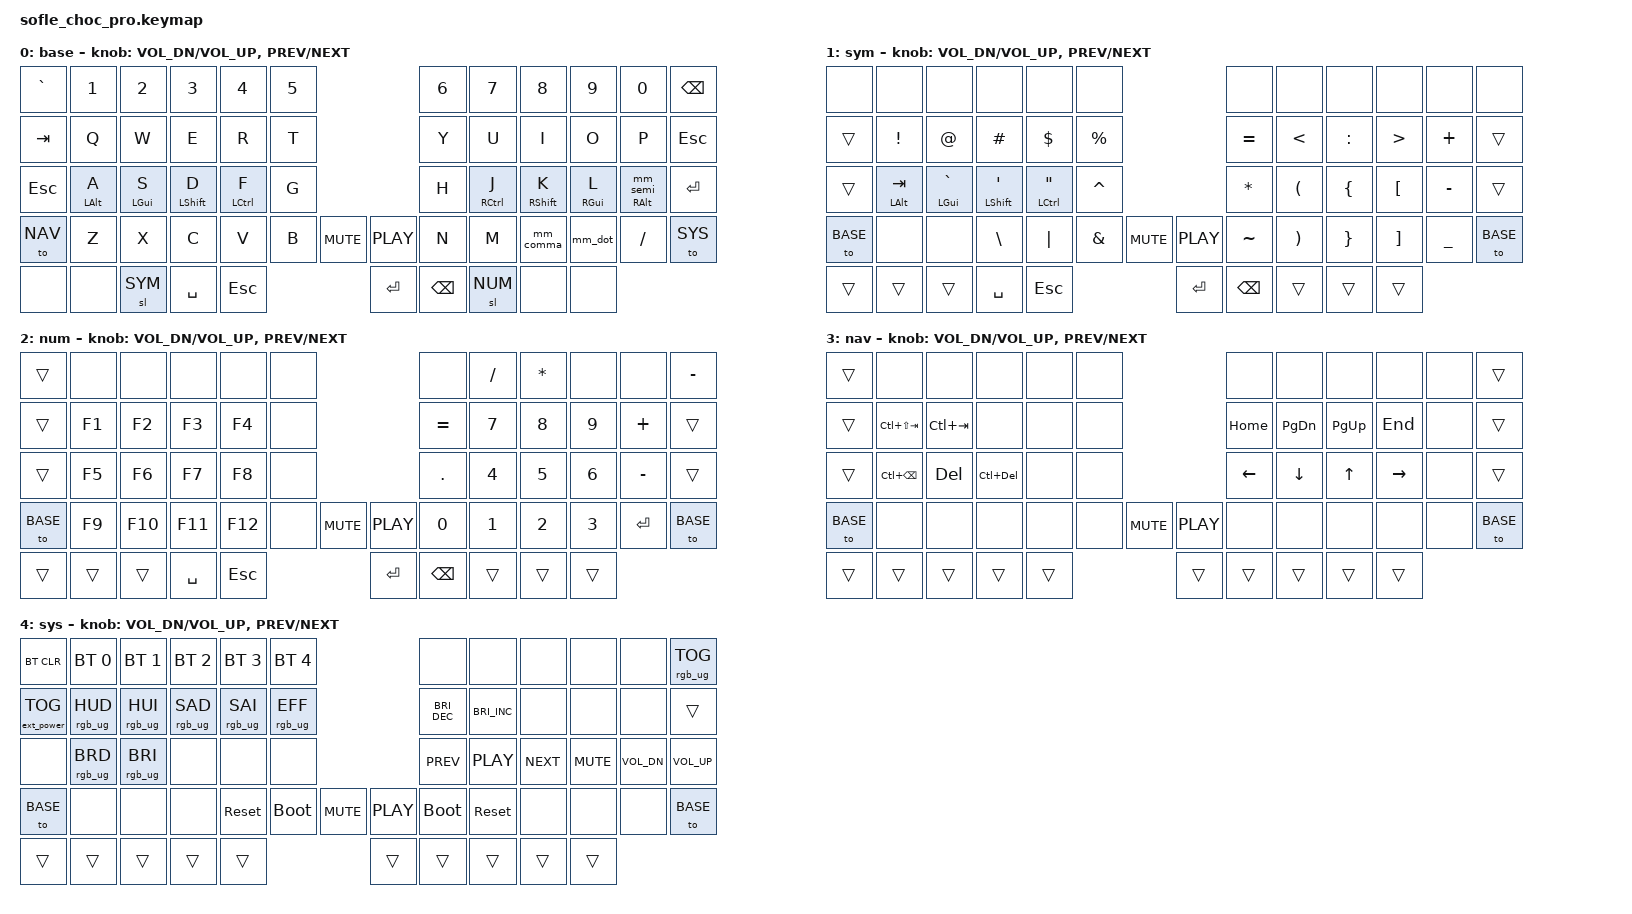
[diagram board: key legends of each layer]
/*
* Copyright (c) 2020 The ZMK Contributors
*
* SPDX-License-Identifier: MIT
*/

#include <behaviors.dtsi>
#include <dt-bindings/zmk/keys.h>
#include <dt-bindings/zmk/bt.h>
#include <dt-bindings/zmk/rgb.h>
#include <dt-bindings/zmk/ext_power.h>

#define BASE 0
#define SYM 1
#define NUM 2
#define NAV 3
#define SYS 4

/*
* Encoders (all layers):
*   left  encoder rotate = volume down / up
*   right encoder rotate = previous / next track
*   encoder push         = the two keys at the bottom-center: left = mute, right = play
*
* Layer notes:
*   SYM/NUM are one-shot (sticky) layers: tap the thumb key, the next keypress comes
*   from the layer, then the layer exits by itself.
*   NAV/SYS are persistent toggles: enter from a bottom pinky-column key on BASE,
*   exit from either bottom pinky-column key.
*   Unused inner keys are dead (&none); only the outer pinky columns and the thumb
*   keys stay transparent (&trans) across layers.
*   Shifted `,` `.` `;` produce nothing on BASE to force using the SYM layer.
*/

/ {
  behaviors {
    mm_comma: mm_comma {
      compatible = "zmk,behavior-mod-morph";
      label = "ZM_MM_COMMA";
      #binding-cells = <0>;
      mods = <(MOD_LSFT | MOD_RSFT)>;
      bindings = <&kp COMMA>, <&none>;
    };

    mm_dot: mm_dot {
      compatible = "zmk,behavior-mod-morph";
      label = "ZM_MM_DOT";
      #binding-cells = <0>;
      mods = <(MOD_LSFT | MOD_RSFT)>;
      bindings = <&kp DOT>, <&none>;
    };

    mm_semi: mm_semi {
      compatible = "zmk,behavior-mod-morph";
      label = "ZM_MM_SEMI";
      #binding-cells = <0>;
      mods = <(MOD_LSFT | MOD_RSFT)>;
      bindings = <&kp SEMI>, <&none>;
    };

    // Home-row mods: flavor "balanced" matches kanata tap-hold-release — the hold
    // only fires when another key is pressed AND released while this key is held,
    // or on timeout; quick-tap gives repeat on a fast re-press of the same key.
    hml: home_row_mod_left {
      compatible = "zmk,behavior-hold-tap";
      label = "HML";
      #binding-cells = <2>;
      flavor = "balanced";
      tapping-term-ms = <200>;
      quick-tap-ms = <200>;
      require-prior-idle-ms = <75>;
      bindings = <&kp>, <&kp>;
    };

    hmr: home_row_mod_right {
      compatible = "zmk,behavior-hold-tap";
      label = "HMR";
      #binding-cells = <2>;
      flavor = "balanced";
      tapping-term-ms = <200>;
      quick-tap-ms = <200>;
      require-prior-idle-ms = <75>;
      bindings = <&kp>, <&kp>;
    };

    // Right-alt hold, semi tap, with shifted-tap killed via mod-morph.
    // Same timing options as hml/hmr above.
    ht_ralt_semi: ht_ralt_semi {
      compatible = "zmk,behavior-hold-tap";
      label = "HT_RALT_SEMI";
      #binding-cells = <2>;
      flavor = "balanced";
      tapping-term-ms = <200>;
      quick-tap-ms = <200>;
      require-prior-idle-ms = <75>;
      bindings = <&kp>, <&mm_semi>;
    };
  };

  keymap {
    compatible = "zmk,keymap";

    base_layer {
      display-name = "base";
      // ------------------------------------------------------------------------------------------------------------
      // | `   |  1  |  2  |  3  |  4  |  5   |                 |  6   |  7  |  8  |  9  |  0  | BKSP |
      // | TAB |  Q  |  W  |  E  |  R  |  T   |                 |  Y   |  U  |  I  |  O  |  P  | ESC  |
      // | ESC | a=ALT s=GUI d=SFT f=CTL  G |                 |  H   | j=CTL k=SFT l=GUI ;=ALT | ENT |
      // | NAV |  Z  |  X  |  C  |  V  |  B   | MUTE | PLAY     |  N   |  M  |  ,  |  .  |  /  | SYS  |
      //              |     | SPC | ESC |                                     | ENT | BSPC |    |
      bindings = <
        &kp GRAVE  &kp N1      &kp N2      &kp N3      &kp N4       &kp N5                       &kp N6       &kp N7       &kp N8       &kp N9      &kp N0       &kp BSPC
        &kp TAB    &kp Q        &kp W       &kp E       &kp R        &kp T                        &kp Y        &kp U        &kp I        &kp O       &kp P        &kp ESC
        &kp ESC    &hml LALT A  &hml LGUI S  &hml LSHFT D &hml LCTRL F  &kp G                        &kp H        &hmr RCTRL J &hmr RSHFT K &hmr RGUI L  &ht_ralt_semi RALT 0  &kp RET
        &to NAV    &kp Z        &kp X       &kp C       &kp V        &kp B   &kp C_MUTE &kp C_PLAY   &kp N        &kp M        &mm_comma    &mm_dot     &kp FSLH     &to SYS
        &none      &none        &sl SYM     &kp SPC     &kp ESC                        &kp RET      &kp BSPC     &sl NUM      &none        &none
      >;

      // left encoder: volume down/up, right encoder: prev/next track
      sensor-bindings = <&inc_dec_kp C_VOL_DN C_VOL_UP &inc_dec_kp C_PREV C_NEXT>;
    };

    sym_layer {
      display-name = "sym";
      // ------------------------------------------------------------------------------------------------------------
      // |     |     |     |     |     |      |                 |      |     |     |     |     |      |
      // |     |  !  |  @  |  #  |  $  |  %   |                 |  =   |  <  |  :  |  >  |  +  |      |
      // |     |aTAB |aGRV | a'  | a"  |  ^   |                 |  *   |  (  |  {  |  [  |  -  |      |
      // |     |     |     |  \  |  |  |  &   | MUTE | PLAY     |  ~   |  )  |  }  |  ]  |  _  |      |
      //              |     | SPC | ESC |                                     | ENT | BSPC |    |
      bindings = <
        &none       &none          &none          &none           &none           &none                          &none         &none          &none        &none        &none         &none
        &trans      &kp EXCL       &kp AT         &kp HASH        &kp DLLR        &kp PRCNT                      &kp EQUAL     &kp LT         &kp COLON    &kp GT       &kp PLUS      &trans
        &trans      &hml LALT TAB   &hml LGUI GRAVE &hml LSHFT SQT   &hml LCTRL DQT   &kp CARET                      &kp ASTRK     &kp LPAR       &kp LBRC     &kp LBKT     &kp MINUS     &trans
        &to BASE    &none          &none          &kp BSLH        &kp PIPE        &kp AMPS   &kp C_MUTE &kp C_PLAY   &kp TILDE     &kp RPRN       &kp RBRC     &kp RBKT     &kp UNDERSCORE  &to BASE
        &trans      &trans         &trans         &kp SPC         &kp ESC                           &kp RET       &kp BSPC       &trans        &trans       &trans
      >;

      // left encoder: volume down/up, right encoder: prev/next track
      sensor-bindings = <&inc_dec_kp C_VOL_DN C_VOL_UP &inc_dec_kp C_PREV C_NEXT>;
    };

    num_layer {
      display-name = "num";
      // ------------------------------------------------------------------------------------------------------------
      // |     |     |     |     |     |      |                 |      |  /  |  *  |     |     |  -   |
      // |     | F1  | F2  | F3  | F4  |      |                 |  =   |  7  |  8  |  9  |  +  |      |
      // |     | F5  | F6  | F7  | F8  |      |                 |  .   |  4  |  5  |  6  |  -  |      |
      // |     | F9  | F10 | F11 | F12 |      | MUTE | PLAY     |  0   |  1  |  2  |  3  | ENT |      |
      //              |     | SPC | ESC |                                     | ENT | BSPC |    |
      bindings = <
        &trans      &none          &none          &none           &none           &none                          &none         &kp SLASH      &kp ASTRK    &none        &none         &kp MINUS
        &trans      &kp F1         &kp F2         &kp F3          &kp F4          &none                          &kp EQUAL     &kp N7         &kp N8       &kp N9       &kp PLUS      &trans
        &trans      &kp F5         &kp F6         &kp F7          &kp F8          &none                          &kp DOT       &kp N4         &kp N5       &kp N6       &kp MINUS     &trans
        &to BASE    &kp F9         &kp F10        &kp F11         &kp F12         &none     &kp C_MUTE &kp C_PLAY   &kp N0        &kp N1         &kp N2       &kp N3       &kp RET       &to BASE
        &trans      &trans         &trans         &kp SPC         &kp ESC                           &kp RET       &kp BSPC       &trans        &trans       &trans
      >;

      // left encoder: volume down/up, right encoder: prev/next track
      sensor-bindings = <&inc_dec_kp C_VOL_DN C_VOL_UP &inc_dec_kp C_PREV C_NEXT>;
    };

    nav_layer {
      display-name = "nav";
      // Letters are dead on NAV (inner keys &none); outer columns and thumbs stay live.
      // ------------------------------------------------------------------------------------------------------------
      // |     |     |     |     |     |      |                 |      |     |     |     |     |      |
      // |     |C+S+TAB | C+TAB |     |     | | HOME | PGDN | PGUP | END  |     |      |
      // |     |C+BSPC |  DEL  |C+DEL |    |       | LEFT | DOWN |  UP  | RGHT |     |      |
      // |     |     |     |     |     |      | MUTE | PLAY     |      |     |     |     |     |      |
      //              |     | SPC | ESC |                                     | ENT | BSPC |    |
      bindings = <
        &trans      &none          &none          &none           &none           &none                          &none         &none          &none        &none        &none         &trans
        &trans      &kp LC(LS(TAB)) &kp LC(TAB)    &none           &none           &none                          &kp HOME      &kp PG_DN      &kp PG_UP    &kp END      &none         &trans
        &trans      &kp LC(BSPC)    &kp DEL        &kp LC(DEL)     &none           &none                          &kp LEFT      &kp DOWN       &kp UP       &kp RIGHT    &none         &trans
        &to BASE    &none          &none          &none           &none           &none     &kp C_MUTE &kp C_PLAY   &none         &none          &none        &none        &none         &to BASE
        &trans      &trans          &trans         &trans          &trans                            &trans        &trans         &trans        &trans       &trans
      >;

      // left encoder: volume down/up, right encoder: prev/next track
      sensor-bindings = <&inc_dec_kp C_VOL_DN C_VOL_UP &inc_dec_kp C_PREV C_NEXT>;
    };

    sys_layer {
      display-name = "sys";
      // ------------------------------------------------------------------------------------------------------------
      // |BTCLR | BT0 | BT1 | BT2 | BT3 | BT4  |                 |      |     |     |     |     | RGB  |
      // | EPWR | HUD | HUI | SAD | SAI | EFF  |                 | BRI- | BRI+|     |     |     |      |
      // |      | BRD | BRI |     |     |      |                 | PREV | PLAY| NEXT| MUTE| VOL-| VOL+ |
      // |      |     |     |     | RST | BOOT | MUTE | PLAY     | BOOT | RST |     |     |     |      |
      //              |     | SPC | ESC |                                     | ENT | BSPC |    |
      bindings = <
        &bt BT_CLR        &bt BT_SEL 0    &bt BT_SEL 1    &bt BT_SEL 2    &bt BT_SEL 3    &bt BT_SEL 4                   &none         &none          &none        &none        &none         &rgb_ug RGB_TOG
        &ext_power EP_TOG &rgb_ug RGB_HUD &rgb_ug RGB_HUI &rgb_ug RGB_SAD &rgb_ug RGB_SAI &rgb_ug RGB_EFF                &kp C_BRIGHTNESS_DEC &kp C_BRIGHTNESS_INC &none &none &none  &trans
        &none             &rgb_ug RGB_BRD &rgb_ug RGB_BRI &none           &none           &none                          &kp C_PREV    &kp C_PLAY     &kp C_NEXT   &kp C_MUTE   &kp C_VOL_DN  &kp C_VOL_UP
        &to BASE          &none           &none           &none           &sys_reset      &bootloader  &kp C_MUTE &kp C_PLAY   &bootloader   &sys_reset     &none        &none        &none         &to BASE
        &trans            &trans          &trans          &trans          &trans                            &trans        &trans         &trans        &trans       &trans
      >;

      // left encoder: volume down/up, right encoder: prev/next track
      sensor-bindings = <&inc_dec_kp C_VOL_DN C_VOL_UP &inc_dec_kp C_PREV C_NEXT>;
    };
  };
};
